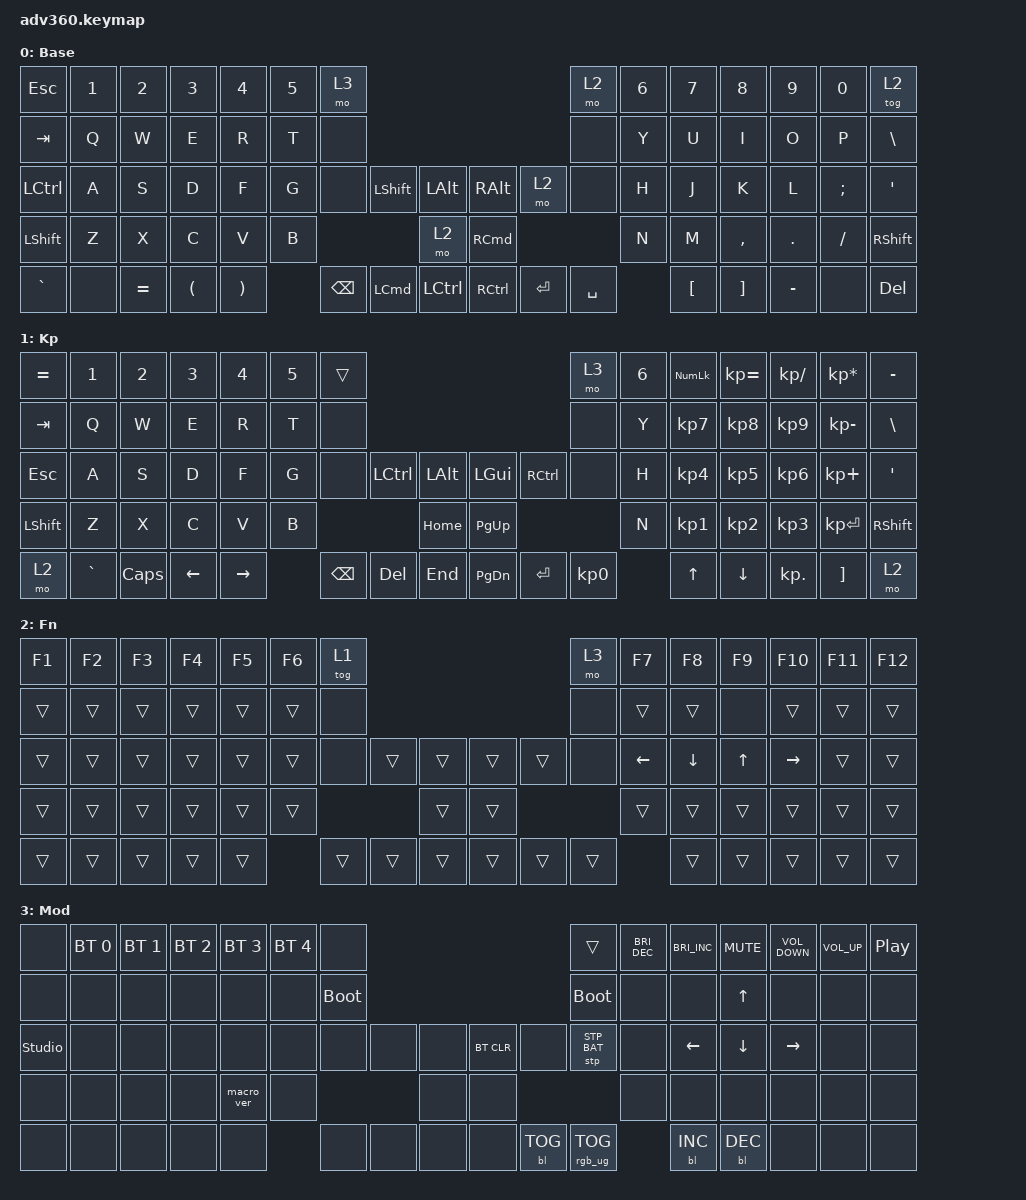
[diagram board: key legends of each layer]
#include <dt-bindings/zmk/stp.h>
#include <behaviors.dtsi>
#include <dt-bindings/zmk/backlight.h>
#include <dt-bindings/zmk/bt.h>
#include <dt-bindings/zmk/keys.h>
#include <dt-bindings/zmk/rgb.h>

/ {
    behaviors {
        #include "macros.dtsi"
      #include "version.dtsi"

        hm: homerow_mods {
            compatible = "zmk,behavior-hold-tap";
            label = "HOMEROW_MODS";
            #binding-cells = <2>;
            tapping-term-ms = <200>;
            quick_tap_ms = <175>;
            flavor = "tap-preferred";
            bindings = <&kp>, <&kp>;
        };
    };

    keymap {
        compatible = "zmk,keymap";

        default_layer {
            display-name = "Base";
            bindings = <
&kp ESCAPE  &kp N1  &kp N2     &kp N3                &kp N4                 &kp N5  &mo 3                                                                    &mo 2      &kp N6  &kp N7            &kp N8             &kp N9     &kp N0    &tog 2
&kp TAB     &kp Q   &kp W      &kp E                 &kp R                  &kp T   &none                                                                    &none      &kp Y   &kp U             &kp I              &kp O      &kp P     &kp BSLH
&kp LCTRL   &kp A   &kp S      &kp D                 &kp F                  &kp G   &none     &kp LEFT_SHIFT    &kp LALT       &kp RALT           &mo 2      &none      &kp H   &kp J             &kp K              &kp L      &kp SEMI  &kp SQT
&kp LSHFT   &kp Z   &kp X      &kp C                 &kp V                  &kp B                               &mo 2          &kp RIGHT_COMMAND                        &kp N   &kp M             &kp COMMA          &kp DOT    &kp FSLH  &kp RSHFT
&kp GRAVE   &none   &kp EQUAL  &kp LEFT_PARENTHESIS  &kp RIGHT_PARENTHESIS          &kp BSPC  &kp LEFT_COMMAND  &kp LCTRL      &kp RIGHT_CONTROL  &kp ENTER  &kp SPACE          &kp LEFT_BRACKET  &kp RIGHT_BRACKET  &kp MINUS  &none     &kp DELETE
            >;
        };

        keypad {
            display-name = "Kp";
            bindings = <
&kp EQUAL  &kp N1     &kp N2    &kp N3    &kp N4     &kp N5  &trans                                                   &mo 3      &kp N6  &kp KP_NUM  &kp KP_EQUAL  &kp KP_DIVIDE  &kp KP_MULTIPLY  &kp MINUS
&kp TAB    &kp Q      &kp W     &kp E     &kp R      &kp T   &none                                                    &none      &kp Y   &kp KP_N7   &kp KP_N8     &kp KP_N9      &kp KP_MINUS     &kp BSLH
&kp ESC    &kp A      &kp S     &kp D     &kp F      &kp G   &none     &kp LCTRL  &kp LALT      &kp LGUI   &kp RCTRL  &none      &kp H   &kp KP_N4   &kp KP_N5     &kp KP_N6      &kp KP_PLUS      &kp SQT
&kp LSHFT  &kp Z      &kp X     &kp C     &kp V      &kp B                        &kp HOME      &kp PG_UP                        &kp N   &kp KP_N1   &kp KP_N2     &kp KP_N3      &kp KP_ENTER     &kp RSHFT
&mo 2      &kp GRAVE  &kp CAPS  &kp LEFT  &kp RIGHT          &kp BSPC  &kp DEL    &kp END       &kp PG_DN  &kp ENTER  &kp KP_N0          &kp UP      &kp DOWN      &kp KP_DOT     &kp RBKT         &mo 2
            >;
        };

        fn {
            display-name = "Fn";
            bindings = <
&kp F1  &kp F2  &kp F3  &kp F4  &kp F5  &kp F6  &tog 1                                      &mo 3   &kp F7          &kp F8          &kp F9        &kp F10          &kp F11  &kp F12
&trans  &trans  &trans  &trans  &trans  &trans  &none                                       &none   &trans          &trans          &none         &trans           &trans   &trans
&trans  &trans  &trans  &trans  &trans  &trans  &none   &trans  &trans      &trans  &trans  &none   &kp LEFT_ARROW  &kp DOWN_ARROW  &kp UP_ARROW  &kp RIGHT_ARROW  &trans   &trans
&trans  &trans  &trans  &trans  &trans  &trans                  &trans      &trans                  &trans          &trans          &trans        &trans           &trans   &trans
&trans  &trans  &trans  &trans  &trans          &trans  &trans  &trans      &trans  &trans  &trans                  &trans          &trans        &trans           &trans   &trans
            >;
        };

        mod {
            display-name = "Mod";
            bindings = <
&none           &bt BT_SEL 0  &bt BT_SEL 1  &bt BT_SEL 2  &bt BT_SEL 3  &bt BT_SEL 4  &none                                                  &trans           &kp C_BRIGHTNESS_DEC  &kp C_BRIGHTNESS_INC  &kp C_MUTE      &kp C_VOLUME_DOWN  &kp C_VOLUME_UP  &kp C_PLAY_PAUSE
&none           &none         &none         &none         &none         &none         &bootloader                                            &bootloader      &none                 &none                 &kp UP_ARROW    &none              &none            &none
&studio_unlock  &none         &none         &none         &none         &none         &none        &none  &none      &bt BT_CLR  &none       &stp STP_BAT     &none                 &kp LEFT_ARROW        &kp DOWN_ARROW  &kp RIGHT_ARROW    &none            &none
&none           &none         &none         &none         &macro_ver    &none                             &none      &none                                    &none                 &none                 &none           &none              &none            &none
&none           &none         &none         &none         &none                       &none        &none  &none      &none       &bl BL_TOG  &rgb_ug RGB_TOG                        &bl BL_INC            &bl BL_DEC      &none              &none            &none
            >;
        };

        extra1 {
            display-name = "Red";
            status = "reserved";
        };

        extra2 {
            display-name = "Purple";
            status = "reserved";
        };

        extra3 {
            display-name = "Cyan";
            status = "reserved";
        };

        extra4 {
            display-name = "Yellow";
            status = "reserved";
        };
    };
};
